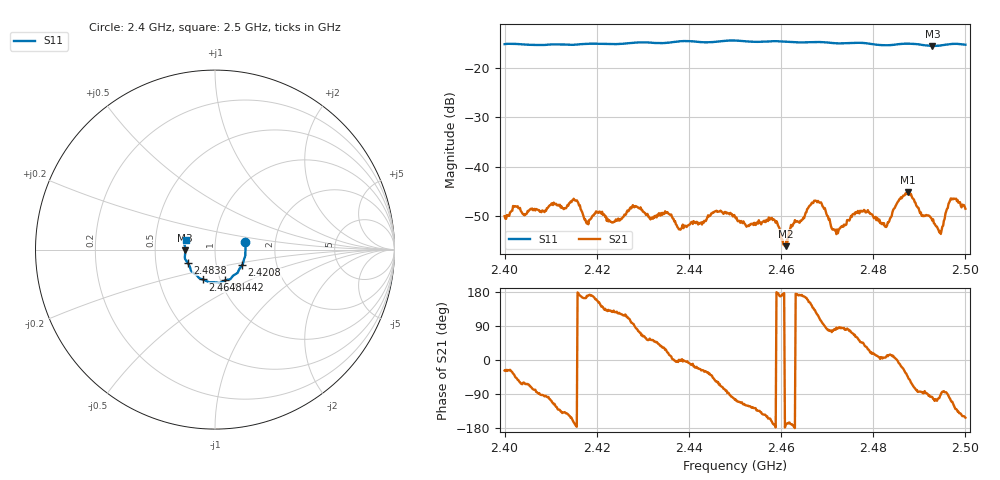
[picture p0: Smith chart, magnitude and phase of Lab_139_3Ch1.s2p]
# Hz S RI R 50
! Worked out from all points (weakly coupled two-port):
!   601 points, 2.4 GHz to 2.5 GHz, reference 50 ohm
!   highest |S21| = -45.16 dB at 2.4875 GHz (marker M1); lowest = -56.1 dB at 2.461 GHz (marker M2)
!   lowest |S11| = -15.6 dB at 2.4928 GHz (marker M3), VSWR 1.40, Z = 35.8 - j0.369 ohm
!   |S11| at or under -10 dB: start of sweep to end of sweep
!   S12 and S22 are empty: the file has one direction only
!   S11 on the Smith chart (normalised r, x): 2.4 GHz: 1.40, +0.12; 2.4208 GHz: 1.33, -0.24; 2.4442 GHz: 1.05, -0.37; 2.4648 GHz: 0.83, -0.28; 2.4838 GHz: 0.73, -0.11; 2.5 GHz: 0.72, +0.08
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2.4e9  0.1679 0.041  0.0028 -0.00148  0 0  0 0
2.415167e9  0.1605 -0.0574  -0.00451 -0.00101  0 0  0 0
2.416667e9  0.1589 -0.0681  -0.0035 0.000793  0 0  0 0
2.417833e9  0.1568 -0.0753  -0.00262 0.00049  0 0  0 0
2.420833e9  0.1508 -0.0871  -0.0028 0.00195  0 0  0 0
2.433333e9  0.1079 -0.1401  0.00236 0.00216  0 0  0 0
2.438e9  0.088 -0.1622  0.00232 -9.01e-05  0 0  0 0
2.444167e9  0.0567 -0.1711  0.00272 -0.00174  0 0  0 0
2.45e9  0.0247 -0.1863  -0.000819 -0.00301  0 0  0 0
2.458167e9  -0.0267 -0.183  -0.00282 -0.000646  0 0  0 0
2.461e9  -0.0406 -0.1784  -0.00155 -0.000243  0 0  0 0
2.464833e9  -0.0683 -0.1665  -0.00299 0.000648  0 0  0 0
2.466667e9  -0.0801 -0.1626  -0.00349 0.00255  0 0  0 0
2.471833e9  -0.1009 -0.1449  0.000413 0.00227  0 0  0 0
2.477667e9  -0.1343 -0.1168  0.00244 0.00254  0 0  0 0
2.483333e9  -0.1504 -0.076  0.00267 0.000598  0 0  0 0
2.483833e9  -0.1531 -0.0719  0.00301 0.000682  0 0  0 0
2.4875e9  -0.1673 -0.0502  0.00396 -0.00385  0 0  0 0
2.492833e9  -0.1657 -0.00501  -0.000396 -0.00282  0 0  0 0
2.4945e9  -0.1668 0.0132  -0.000192 -0.00221  0 0  0 0
2.497e9  -0.1705 0.0325  -0.00162 -0.00439  0 0  0 0
2.5e9  -0.1623 0.0529  -0.00333 -0.00175  0 0  0 0
